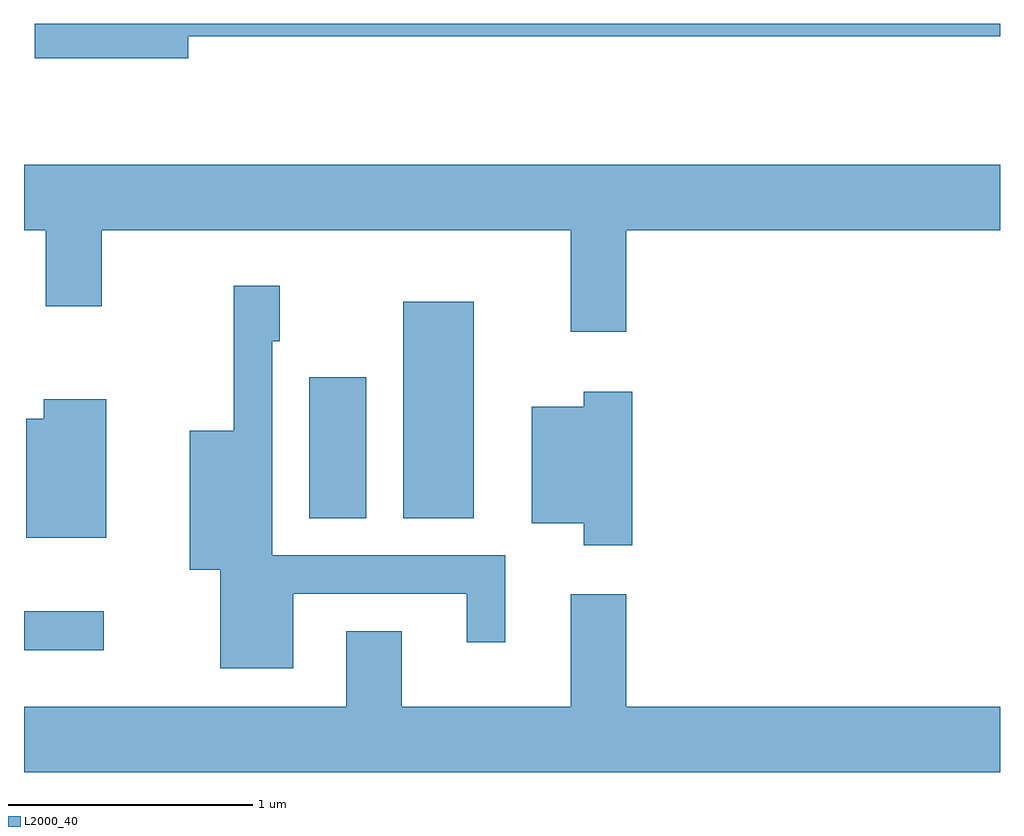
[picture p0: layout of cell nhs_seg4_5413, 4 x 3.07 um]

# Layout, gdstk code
import gdstk
lib = gdstk.Library(unit=1e-6, precision=1e-09)
def R(c, l, rs):  # rectangles x0, y0, x1, y1
    for r in rs: c.add(gdstk.rectangle(r[:2], r[2:], *l))
def P(c, l, *ps):  # polygons
    for p in ps: c.add(gdstk.Polygon(p, *l))
L2000_40 = (2000, 40)

nhs_seg4_5413 = lib.new_cell('nhs_seg4_5413')
R(nhs_seg4_5413, L2000_40, [(343.611,1337.416,343.938,1337.574), (344.781,1337.956,345.014,1338.534), (345.166,1337.956,345.454,1338.844)])
P(nhs_seg4_5413, L2000_40, [(344.284,1339.931),(347.611,1339.931),(347.611,1339.982),(343.656,1339.982),(343.656,1339.841),(344.284,1339.841)],
  [(346.079,1339.136),(347.611,1339.136),(347.611,1339.404),(343.611,1339.404),(343.611,1339.136),(343.701,1339.136),(343.701,1338.826),(343.929,1338.826),(343.929,1339.136),(345.851,1339.136),(345.851,1338.721),(346.079,1338.721)],
  [(344.714,1337.646),(345.426,1337.646),(345.426,1337.448),(345.584,1337.448),(345.584,1337.804),(344.629,1337.804),(344.629,1338.681),(344.659,1338.681),(344.659,1338.909),(344.471,1338.909),(344.471,1338.314),(344.291,1338.314),(344.291,1337.746),(344.416,1337.746),(344.416,1337.341),(344.714,1337.341)],
  [(346.104,1338.474),(345.906,1338.474),(345.906,1338.414),(345.691,1338.414),(345.691,1337.936),(345.906,1337.936),(345.906,1337.846),(346.104,1337.846)],
  [(343.949,1338.444),(343.691,1338.444),(343.691,1338.364),(343.621,1338.364),(343.621,1337.876),(343.949,1337.876)],
  [(347.611,1337.184),(346.079,1337.184),(346.079,1337.644),(345.851,1337.644),(345.851,1337.184),(345.159,1337.184),(345.159,1337.494),(344.931,1337.494),(344.931,1337.184),(343.611,1337.184),(343.611,1336.916),(347.611,1336.916)])

lib.write_gds('nhs_seg4_5413.gds')
